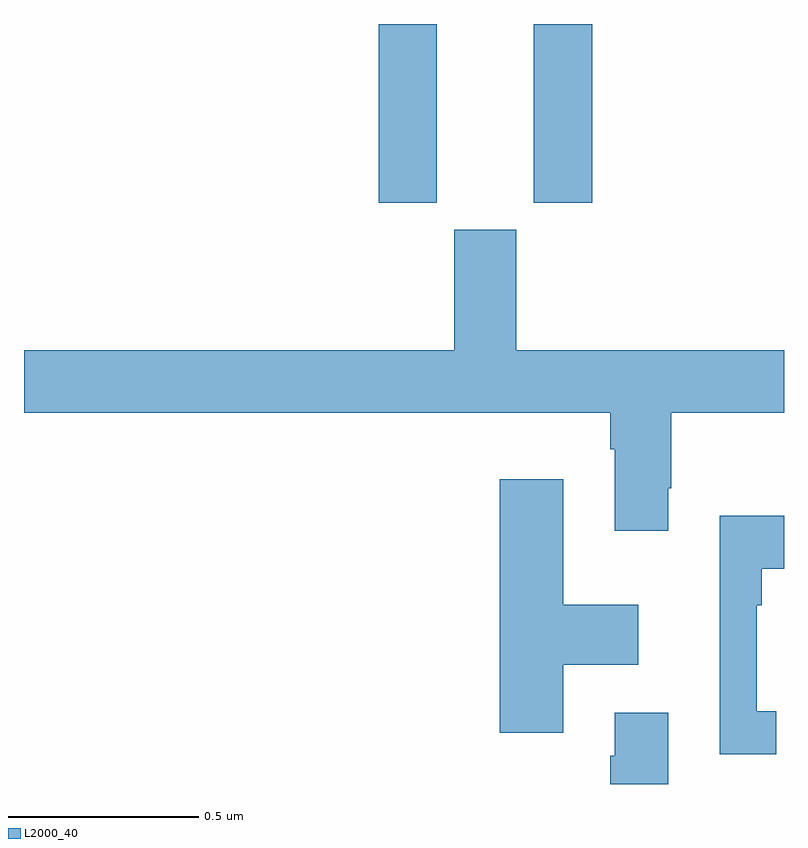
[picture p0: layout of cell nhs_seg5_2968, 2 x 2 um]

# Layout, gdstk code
import gdstk
lib = gdstk.Library(unit=1e-6, precision=1e-09)
def R(c, l, rs):  # rectangles x0, y0, x1, y1
    for r in rs: c.add(gdstk.rectangle(r[:2], r[2:], *l))
def P(c, l, *ps):  # polygons
    for p in ps: c.add(gdstk.Polygon(p, *l))
L2000_40 = (2000, 40)

nhs_seg5_2968 = lib.new_cell('nhs_seg5_2968')
R(nhs_seg5_2968, L2000_40, [(151.934,841.329,152.086,841.799), (152.342,841.329,152.495,841.799)])
P(nhs_seg5_2968, L2000_40, [(152.695,840.577),(152.703,840.577),(152.703,840.776),(153,840.776),(153,840.94),(152.296,840.94),(152.296,841.257),(152.132,841.257),(152.132,840.94),(151,840.94),(151,840.776),(152.543,840.776),(152.543,840.68),(152.555,840.68),(152.555,840.465),(152.695,840.465)],
  [(152.419,840.113),(152.617,840.113),(152.617,840.271),(152.419,840.271),(152.419,840.601),(152.252,840.601),(152.252,839.934),(152.419,839.934)],
  [(152.98,839.99),(152.928,839.99),(152.928,840.269),(152.941,840.269),(152.941,840.365),(153,840.365),(153,840.505),(152.831,840.505),(152.831,839.877),(152.98,839.877)],
  [(152.695,839.986),(152.555,839.986),(152.555,839.873),(152.543,839.873),(152.543,839.799),(152.695,839.799)])

lib.write_gds('nhs_seg5_2968.gds')
